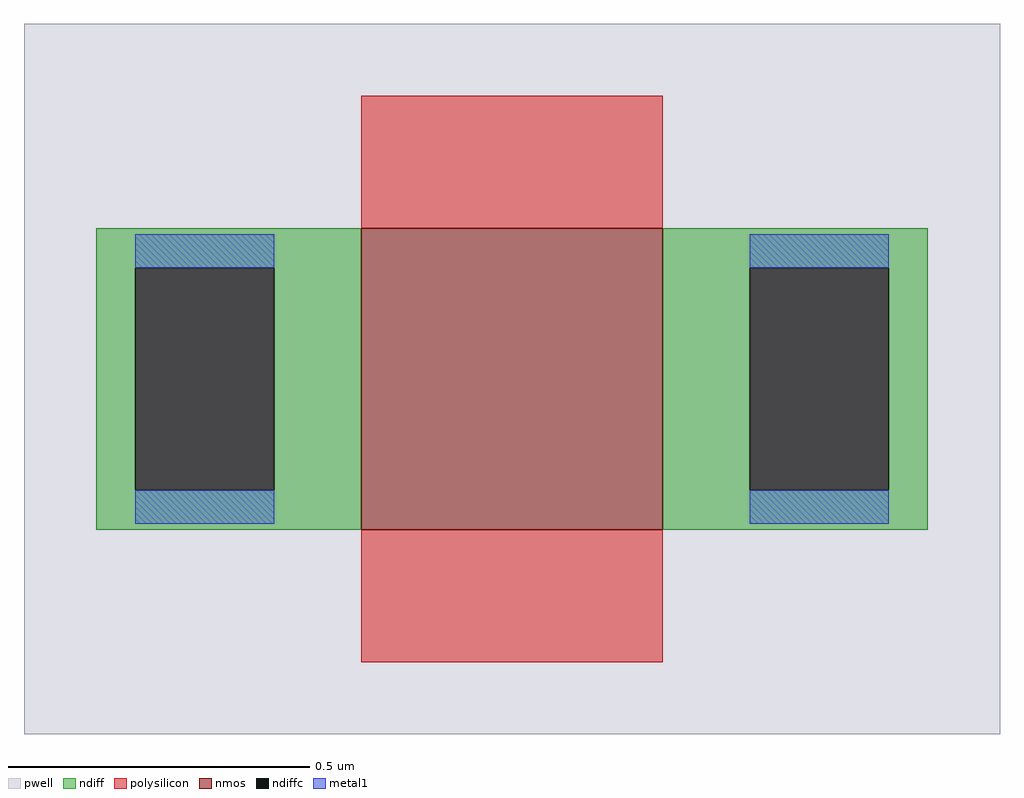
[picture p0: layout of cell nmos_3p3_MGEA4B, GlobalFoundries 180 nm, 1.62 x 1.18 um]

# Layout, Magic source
magic
tech gf180mcuC
magscale 1 10
<< pwell >>
rect -162 -118 162 118
<< nmos >>
rect -50 -50 50 50
<< ndiff >>
rect -138 37 -50 50
rect -138 -37 -125 37
rect -79 -37 -50 37
rect -138 -50 -50 -37
rect 50 37 138 50
rect 50 -37 79 37
rect 125 -37 138 37
rect 50 -50 138 -37
<< ndiffc >>
rect -125 -37 -79 37
rect 79 -37 125 37
<< polysilicon >>
rect -50 50 50 94
rect -50 -94 50 -50
<< metal1 >>
rect -125 37 -79 48
rect -125 -48 -79 -37
rect 79 37 125 48
rect 79 -48 125 -37
<< properties >>
string gencell nmos_3p3
string library gf180mcu
string parameters w 0.5 l 0.5 m 1 nf 1 diffcov 100 polycov 100 guard 0 glc 0 grc 0 gtc 0 gbc 0 tbcov 100 rlcov 100 topc 0 botc 0 poverlap 0 doverlap 1 lmin 0.28 wmin 0.22 full_metal 0 compatible {nmos_3p3 nmos_6p0 nmos_6p0_nat}
<< end >>
